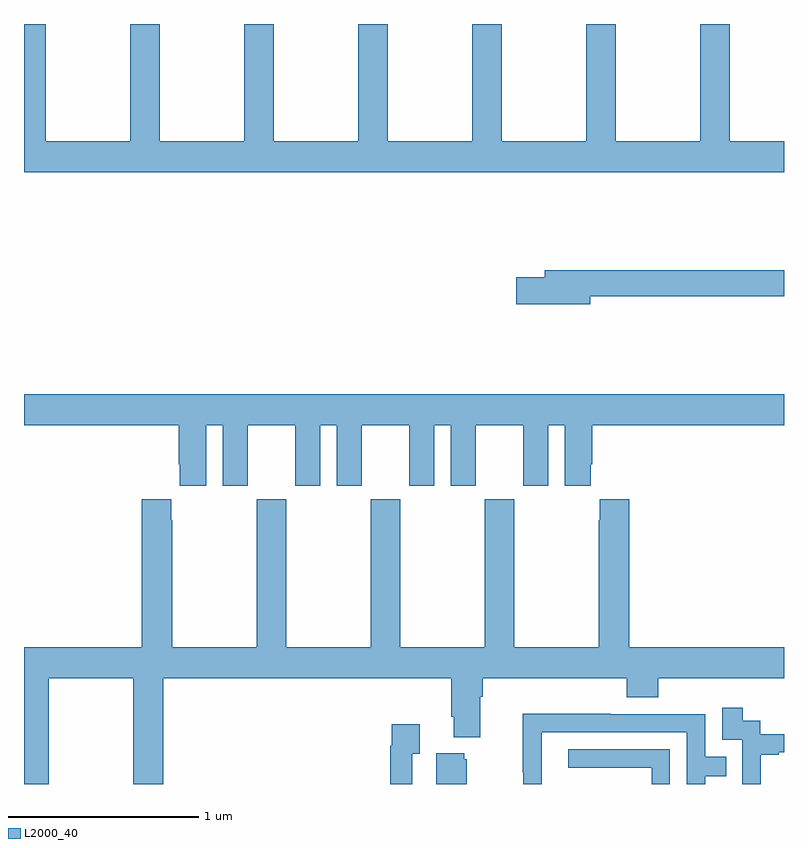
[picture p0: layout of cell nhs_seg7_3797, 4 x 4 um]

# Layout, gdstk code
import gdstk
lib = gdstk.Library(unit=1e-6, precision=1e-09)
def P(c, l, *ps):  # polygons
    for p in ps: c.add(gdstk.Polygon(p, *l))
L2000_40 = (2000, 40)

nhs_seg7_3797 = lib.new_cell('nhs_seg7_3797')
P(nhs_seg7_3797, L2000_40, [(355,1063.384),(354.714,1063.384),(354.714,1064),(354.559,1064),(354.559,1063.384),(354.114,1063.384),(354.114,1064),(353.959,1064),(353.959,1063.384),(353.514,1063.384),(353.514,1064),(353.359,1064),(353.359,1063.384),(352.914,1063.384),(352.914,1064),(352.759,1064),(352.759,1063.384),(352.314,1063.384),(352.314,1064),(352.159,1064),(352.159,1063.384),(351.714,1063.384),(351.714,1064),(351.559,1064),(351.559,1063.384),(351.114,1063.384),(351.114,1064),(351,1064),(351,1063.22),(355,1063.22)],
  [(353.98,1062.568),(355,1062.568),(355,1062.704),(353.741,1062.704),(353.741,1062.668),(353.592,1062.668),(353.592,1062.526),(353.98,1062.526)],
  [(351.958,1061.888),(352.046,1061.888),(352.046,1061.571),(352.177,1061.571),(352.177,1061.888),(352.427,1061.888),(352.427,1061.571),(352.558,1061.571),(352.558,1061.888),(352.646,1061.888),(352.646,1061.571),(352.777,1061.571),(352.777,1061.888),(353.027,1061.888),(353.027,1061.571),(353.158,1061.571),(353.158,1061.888),(353.246,1061.888),(353.246,1061.571),(353.377,1061.571),(353.377,1061.888),(353.627,1061.888),(353.627,1061.571),(353.758,1061.571),(353.758,1061.888),(353.846,1061.888),(353.846,1061.571),(353.983,1061.571),(353.983,1061.683),(353.99,1061.683),(353.99,1061.888),(355,1061.888),(355,1062.052),(351,1062.052),(351,1061.888),(351.815,1061.888),(351.815,1061.683),(351.821,1061.683),(351.821,1061.571),(351.958,1061.571)],
  [(351.129,1060.556),(351.574,1060.556),(351.574,1060),(351.734,1060),(351.734,1060.556),(353.249,1060.556),(353.249,1060.354),(353.261,1060.354),(353.261,1060.247),(353.401,1060.247),(353.401,1060.46),(353.414,1060.46),(353.414,1060.556),(354.173,1060.556),(354.173,1060.457),(354.338,1060.457),(354.338,1060.556),(355,1060.556),(355,1060.72),(354.185,1060.72),(354.185,1061.5),(354.029,1061.5),(354.029,1061.387),(354.025,1061.387),(354.025,1060.72),(353.58,1060.72),(353.58,1061.5),(353.425,1061.5),(353.425,1060.72),(352.98,1060.72),(352.98,1061.5),(352.825,1061.5),(352.825,1060.72),(352.38,1060.72),(352.38,1061.5),(352.225,1061.5),(352.225,1060.72),(351.78,1060.72),(351.78,1061.387),(351.775,1061.387),(351.775,1061.5),(351.62,1061.5),(351.62,1060.72),(351,1060.72),(351,1060),(351.129,1060)],
  [(354.878,1060.155),(354.973,1060.155),(354.973,1060.167),(355,1060.167),(355,1060.263),(354.876,1060.263),(354.876,1060.332),(354.784,1060.332),(354.784,1060.402),(354.675,1060.402),(354.675,1060.233),(354.78,1060.233),(354.78,1060.004),(354.779,1060.004),(354.779,1060),(354.878,1060)],
  [(353.724,1060.272),(354.489,1060.272),(354.489,1060),(354.585,1060),(354.585,1060.042),(354.695,1060.042),(354.695,1060.143),(354.585,1060.143),(354.585,1060.368),(354.089,1060.368),(354.089,1060.37),(353.626,1060.37),(353.626,1060.063),(353.628,1060.063),(353.628,1060),(353.724,1060)],
  [(353.043,1060.159),(353.083,1060.159),(353.083,1060.315),(352.935,1060.315),(352.935,1060.202),(352.927,1060.202),(352.927,1060),(353.043,1060)],
  [(354.399,1060.182),(353.865,1060.182),(353.865,1060.086),(354.303,1060.086),(354.303,1060),(354.399,1060)],
  [(353.329,1060.131),(353.318,1060.131),(353.318,1060.162),(353.171,1060.162),(353.171,1060),(353.329,1060)])

lib.write_gds('nhs_seg7_3797.gds')
